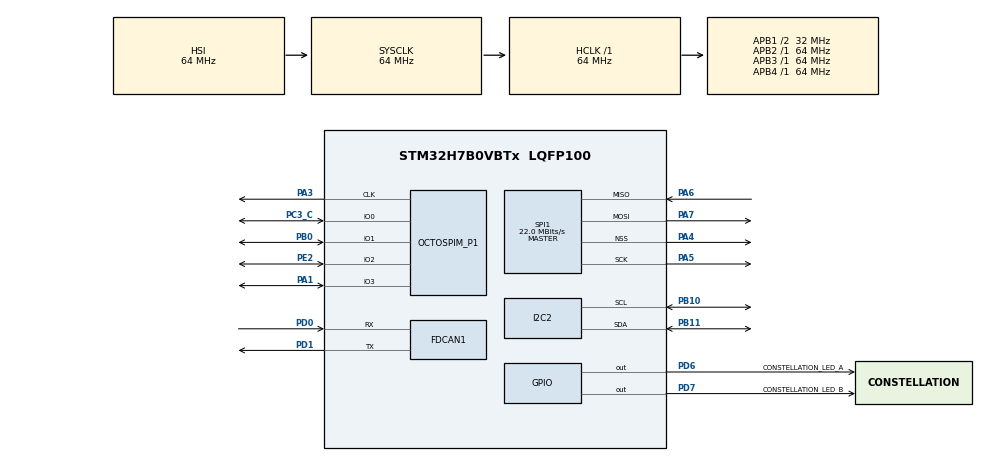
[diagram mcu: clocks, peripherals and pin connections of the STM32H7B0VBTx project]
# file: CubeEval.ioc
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CORTEX_M7.default_mode_Activation=1
FDCAN1.CalculateBaudRateNominal=916666
FDCAN1.CalculateTimeBitNominal=1090
FDCAN1.CalculateTimeQuantumNominal=363.6363636363636
FREERTOS.Tasks01=defaultTask,24,128,StartDefaultTask,Default,NULL,Dynamic,NULL,NULL
FREERTOS.configENABLE_FPU=1
I2C2.Timing=0x00707CBB
Mcu.Family=STM32H7
Mcu.Name=STM32H7B0VBTx
Mcu.Package=LQFP100
NVIC.PriorityGroup=NVIC_PRIORITYGROUP_4
NVIC.TIM6_DAC_IRQn=true\:15\:0\:false\:false\:true\:false\:false\:true\:true
NVIC.TimeBase=TIM6_DAC_IRQn
NVIC.TimeBaseIP=TIM6
PA1.Mode=OCTOSPI1_IOL_Port1L
PA1.Signal=OCTOSPIM_P1_IO3
PA3.Mode=O1_P1_CLK
PA3.Signal=OCTOSPIM_P1_CLK
PA4.Mode=NSS_Signal_Hard_Output
PA4.Signal=SPI1_NSS
PA5.Mode=Full_Duplex_Master
PA5.Signal=SPI1_SCK
PA6.Mode=Full_Duplex_Master
PA6.Signal=SPI1_MISO
PA7.Mode=Full_Duplex_Master
PA7.Signal=SPI1_MOSI
PB0.Mode=OCTOSPI1_IOL_Port1L
PB0.Signal=OCTOSPIM_P1_IO1
PB10.Mode=I2C
PB10.Signal=I2C2_SCL
PB11.Mode=I2C
PB11.Signal=I2C2_SDA
PC3_C.Mode=OCTOSPI1_IOL_Port1L
PC3_C.Signal=OCTOSPIM_P1_IO0
PD0.Mode=FDCAN_Activate
PD0.Signal=FDCAN1_RX
PD1.Mode=FDCAN_Activate
PD1.Signal=FDCAN1_TX
PD6.GPIO_Label=CONSTELLATION_LED_A
PD6.Signal=GPIO_Output
PD7.GPIO_Label=CONSTELLATION_LED_B
PD7.GPIO_PuPd=GPIO_NOPULL
PD7.Signal=GPIO_Output
PE2.Mode=OCTOSPI1_IOL_Port1L
PE2.Signal=OCTOSPIM_P1_IO2
PH0-OSC_IN.Mode=HSE-External-Oscillator
PH0-OSC_IN.Signal=RCC_OSC_IN
PH1-OSC_OUT.Mode=HSE-External-Oscillator
PH1-OSC_OUT.Signal=RCC_OSC_OUT
ProjectManager.HeapSize=0x200
ProjectManager.StackSize=0x400
ProjectManager.TargetToolchain=CMake
RCC.ADCFreq_Value=96750000
RCC.APB1Freq_Value=32000000
RCC.APB2Freq_Value=64000000
RCC.APB3Freq_Value=64000000
RCC.APB4Freq_Value=64000000
RCC.CDPPRE1=RCC_APB1_DIV2
RCC.CortexFreq_Value=64000000
RCC.DIVM1=4
RCC.DIVN1=11
RCC.DIVQ1=3
RCC.HCLKFreq_Value=64000000
RCC.HSE_VALUE=48000000
RCC.PLL2FRACN=0
RCC.PLL3FRACN=0
RCC.PLLFRACN=0
RCC.PLLSourceVirtual=RCC_PLLSOURCE_HSE
RCC.SYSCLKFreq_VALUE=64000000
RCC.USBFreq_Value=44000000
SPI1.CalculateBaudRate=22.0 MBits/s
SPI1.Direction=SPI_DIRECTION_2LINES
SPI1.Mode=SPI_MODE_MASTER
SPI1.VirtualNSS=VM_NSSHARD
SPI1.VirtualType=VM_MASTER
VP_FREERTOS_VS_CMSIS_V2.Mode=CMSIS_V2
VP_MEMORYMAP_VS_MEMORYMAP.Mode=CurAppReg
VP_OCTOSPI1_VS_quad.Mode=quad_mode
VP_SYS_VS_tim6.Mode=TIM6
VP_TIM7_VS_ClockSourceINT.Mode=Enable_Timer
board=custom

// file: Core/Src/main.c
/* USER CODE BEGIN Header */
/**
 ******************************************************************************
 * @file           : main.c
 * @brief          : Main program body
 ******************************************************************************
 * @attention
 *
 * Copyright (c) 2025 STMicroelectronics.
 * All rights reserved.
 *
 * This software is licensed under terms that can be found in the LICENSE file
 * in the root directory of this software component.
 * If no LICENSE file comes with this software, it is provided AS-IS.
 *
 ******************************************************************************
 */
/* USER CODE END Header */
#include "main.h"
#include "cmsis_os.h"

/* USER CODE BEGIN Includes */
#include <stdbool.h>
/* USER CODE END Includes */

FDCAN_HandleTypeDef hfdcan1;

I2C_HandleTypeDef hi2c2;

OSPI_HandleTypeDef hospi1;

SPI_HandleTypeDef hspi1;

TIM_HandleTypeDef htim7;

/* Definitions for defaultTask */
osThreadId_t defaultTaskHandle;
const osThreadAttr_t defaultTask_attributes = {
	.name = "defaultTask",
	.stack_size = 128 * 4,
	.priority = (osPriority_t)osPriorityNormal,
};
/* USER CODE BEGIN PV */

uint8_t ubKeyNumber = 0x0;
uint8_t ubKeyNumberValue = 0x0;
uint8_t ubLedBlinkTime = 0x0;
FDCAN_RxHeaderTypeDef RxHeader;
uint8_t RxData[8];
FDCAN_TxHeaderTypeDef TxHeader;
uint8_t TxData[8];

/* USER CODE END PV */

void SystemClock_Config(void);
static void MPU_Config(void);
static void MX_GPIO_Init(void);
static void MX_TIM7_Init(void);
static void MX_FDCAN1_Init(void);
static void MX_I2C2_Init(void);
static void MX_OCTOSPI1_Init(void);
static void MX_SPI1_Init(void);
void StartDefaultTask(void *argument);

int main(void) {

	/* MPU Configuration--------------------------------------------------------*/
	MPU_Config();

	/* MCU Configuration--------------------------------------------------------*/

	/* Reset of all peripherals, Initializes the Flash interface and the Systick.
	 */
	HAL_Init();

	/* Configure the system clock */
	SystemClock_Config();

	/* Initialize all configured peripherals */
	MX_GPIO_Init();
	MX_TIM7_Init();
	MX_FDCAN1_Init();
	MX_I2C2_Init();
	MX_OCTOSPI1_Init();
	MX_SPI1_Init();

	/* Init scheduler */
	osKernelInitialize();

	/* Create the thread(s) */
	/* creation of defaultTask */
	defaultTaskHandle = osThreadNew(StartDefaultTask, NULL, &defaultTask_attributes);

	/* Start scheduler */
	osKernelStart();

	/* We should never get here as control is now taken by the scheduler */

	/* Infinite loop */
	while (1) {

	}
}

void SystemClock_Config(void) {
	RCC_OscInitTypeDef RCC_OscInitStruct = {0};
	RCC_ClkInitTypeDef RCC_ClkInitStruct = {0};

	/*AXI clock gating */
	RCC->CKGAENR = 0xFFFFFFFF;

	/** Supply configuration update enable
	 */
	HAL_PWREx_ConfigSupply(PWR_LDO_SUPPLY);

	/** Configure the main internal regulator output voltage
	 */
	__HAL_PWR_VOLTAGESCALING_CONFIG(PWR_REGULATOR_VOLTAGE_SCALE3);

	while (!__HAL_PWR_GET_FLAG(PWR_FLAG_VOSRDY)) {
	}

	/** Initializes the RCC Oscillators according to the specified parameters
	 * in the RCC_OscInitTypeDef structure.
	 */
	RCC_OscInitStruct.OscillatorType = RCC_OSCILLATORTYPE_HSI | RCC_OSCILLATORTYPE_HSE;
	RCC_OscInitStruct.HSEState = RCC_HSE_ON;
	RCC_OscInitStruct.HSIState = RCC_HSI_DIV1;
	RCC_OscInitStruct.HSICalibrationValue = 64;
	RCC_OscInitStruct.PLL.PLLState = RCC_PLL_ON;
	RCC_OscInitStruct.PLL.PLLSource = RCC_PLLSOURCE_HSE;
	RCC_OscInitStruct.PLL.PLLM = 4;
	RCC_OscInitStruct.PLL.PLLN = 11;
	RCC_OscInitStruct.PLL.PLLP = 2;
	RCC_OscInitStruct.PLL.PLLQ = 3;
	RCC_OscInitStruct.PLL.PLLR = 2;
	RCC_OscInitStruct.PLL.PLLRGE = RCC_PLL1VCIRANGE_3;
	RCC_OscInitStruct.PLL.PLLVCOSEL = RCC_PLL1VCOWIDE;
	RCC_OscInitStruct.PLL.PLLFRACN = 0;
	if (HAL_RCC_OscConfig(&RCC_OscInitStruct) != HAL_OK) {
		Error_Handler();
	}

	/** Initializes the CPU, AHB and APB buses clocks
	 */
	RCC_ClkInitStruct.ClockType = RCC_CLOCKTYPE_HCLK | RCC_CLOCKTYPE_SYSCLK | RCC_CLOCKTYPE_PCLK1 |
								  RCC_CLOCKTYPE_PCLK2 | RCC_CLOCKTYPE_D3PCLK1 | RCC_CLOCKTYPE_D1PCLK1;
	RCC_ClkInitStruct.SYSCLKSource = RCC_SYSCLKSOURCE_HSI;
	RCC_ClkInitStruct.SYSCLKDivider = RCC_SYSCLK_DIV1;
	RCC_ClkInitStruct.AHBCLKDivider = RCC_HCLK_DIV1;
	RCC_ClkInitStruct.APB3CLKDivider = RCC_APB3_DIV1;
	RCC_ClkInitStruct.APB1CLKDivider = RCC_APB1_DIV2;
	RCC_ClkInitStruct.APB2CLKDivider = RCC_APB2_DIV1;
	RCC_ClkInitStruct.APB4CLKDivider = RCC_APB4_DIV1;

	if (HAL_RCC_ClockConfig(&RCC_ClkInitStruct, FLASH_LATENCY_2) != HAL_OK) {
		Error_Handler();
	}
}

static void MX_FDCAN1_Init(void) {

	hfdcan1.Instance = FDCAN1;
	hfdcan1.Init.FrameFormat = FDCAN_FRAME_CLASSIC;
	hfdcan1.Init.Mode = FDCAN_MODE_NORMAL;
	hfdcan1.Init.AutoRetransmission = DISABLE;
	hfdcan1.Init.TransmitPause = DISABLE;
	hfdcan1.Init.ProtocolException = DISABLE;
	hfdcan1.Init.NominalPrescaler = 16;
	hfdcan1.Init.NominalSyncJumpWidth = 1;
	hfdcan1.Init.NominalTimeSeg1 = 1;
	hfdcan1.Init.NominalTimeSeg2 = 1;
	hfdcan1.Init.DataPrescaler = 1;
	hfdcan1.Init.DataSyncJumpWidth = 1;
	hfdcan1.Init.DataTimeSeg1 = 1;
	hfdcan1.Init.DataTimeSeg2 = 1;
	hfdcan1.Init.MessageRAMOffset = 0;
	hfdcan1.Init.StdFiltersNbr = 0;
	hfdcan1.Init.ExtFiltersNbr = 0;
	hfdcan1.Init.RxFifo0ElmtsNbr = 0;
	hfdcan1.Init.RxFifo0ElmtSize = FDCAN_DATA_BYTES_8;
	hfdcan1.Init.RxFifo1ElmtsNbr = 0;
	hfdcan1.Init.RxFifo1ElmtSize = FDCAN_DATA_BYTES_8;
	hfdcan1.Init.RxBuffersNbr = 0;
	hfdcan1.Init.RxBufferSize = FDCAN_DATA_BYTES_8;
	hfdcan1.Init.TxEventsNbr = 0;
	hfdcan1.Init.TxBuffersNbr = 0;
	hfdcan1.Init.TxFifoQueueElmtsNbr = 0;
	hfdcan1.Init.TxFifoQueueMode = FDCAN_TX_FIFO_OPERATION;
	hfdcan1.Init.TxElmtSize = FDCAN_DATA_BYTES_8;
	if (HAL_FDCAN_Init(&hfdcan1) != HAL_OK) {
		Error_Handler();
	}
}

static void MX_I2C2_Init(void) {

	hi2c2.Instance = I2C2;
	hi2c2.Init.Timing = 0x00707CBB;
	hi2c2.Init.OwnAddress1 = 0;
	hi2c2.Init.AddressingMode = I2C_ADDRESSINGMODE_7BIT;
	hi2c2.Init.DualAddressMode = I2C_DUALADDRESS_DISABLE;
	hi2c2.Init.OwnAddress2 = 0;
	hi2c2.Init.OwnAddress2Masks = I2C_OA2_NOMASK;
	hi2c2.Init.GeneralCallMode = I2C_GENERALCALL_DISABLE;
	hi2c2.Init.NoStretchMode = I2C_NOSTRETCH_DISABLE;
	if (HAL_I2C_Init(&hi2c2) != HAL_OK) {
		Error_Handler();
	}

	/** Configure Analogue filter
	 */
	if (HAL_I2CEx_ConfigAnalogFilter(&hi2c2, I2C_ANALOGFILTER_ENABLE) != HAL_OK) {
		Error_Handler();
	}

	/** Configure Digital filter
	 */
	if (HAL_I2CEx_ConfigDigitalFilter(&hi2c2, 0) != HAL_OK) {
		Error_Handler();
	}
}

static void MX_OCTOSPI1_Init(void) {

	OSPIM_CfgTypeDef sOspiManagerCfg = {0};

	/* OCTOSPI1 parameter configuration*/
	hospi1.Instance = OCTOSPI1;
	hospi1.Init.FifoThreshold = 1;
	hospi1.Init.DualQuad = HAL_OSPI_DUALQUAD_DISABLE;
	hospi1.Init.MemoryType = HAL_OSPI_MEMTYPE_MICRON;
	hospi1.Init.DeviceSize = 32;
	hospi1.Init.ChipSelectHighTime = 1;
	hospi1.Init.FreeRunningClock = HAL_OSPI_FREERUNCLK_DISABLE;
	hospi1.Init.ClockMode = HAL_OSPI_CLOCK_MODE_0;
	hospi1.Init.WrapSize = HAL_OSPI_WRAP_NOT_SUPPORTED;
	hospi1.Init.ClockPrescaler = 1;
	hospi1.Init.SampleShifting = HAL_OSPI_SAMPLE_SHIFTING_NONE;
	hospi1.Init.DelayHoldQuarterCycle = HAL_OSPI_DHQC_DISABLE;
	hospi1.Init.ChipSelectBoundary = 0;
	hospi1.Init.DelayBlockBypass = HAL_OSPI_DELAY_BLOCK_BYPASSED;
	hospi1.Init.MaxTran = 0;
	hospi1.Init.Refresh = 0;
	if (HAL_OSPI_Init(&hospi1) != HAL_OK) {
		Error_Handler();
	}
	sOspiManagerCfg.ClkPort = 1;
	sOspiManagerCfg.IOLowPort = HAL_OSPIM_IOPORT_1_LOW;
	if (HAL_OSPIM_Config(&hospi1, &sOspiManagerCfg, HAL_OSPI_TIMEOUT_DEFAULT_VALUE) != HAL_OK) {
		Error_Handler();
	}
}

static void MX_SPI1_Init(void) {

	/* SPI1 parameter configuration*/
	hspi1.Instance = SPI1;
	hspi1.Init.Mode = SPI_MODE_MASTER;
	hspi1.Init.Direction = SPI_DIRECTION_2LINES;
	hspi1.Init.DataSize = SPI_DATASIZE_4BIT;
	hspi1.Init.CLKPolarity = SPI_POLARITY_LOW;
	hspi1.Init.CLKPhase = SPI_PHASE_1EDGE;
	hspi1.Init.NSS = SPI_NSS_HARD_OUTPUT;
	hspi1.Init.BaudRatePrescaler = SPI_BAUDRATEPRESCALER_2;
	hspi1.Init.FirstBit = SPI_FIRSTBIT_MSB;
	hspi1.Init.TIMode = SPI_TIMODE_DISABLE;
	hspi1.Init.CRCCalculation = SPI_CRCCALCULATION_DISABLE;
	hspi1.Init.CRCPolynomial = 0x0;
	hspi1.Init.NSSPMode = SPI_NSS_PULSE_ENABLE;
	hspi1.Init.NSSPolarity = SPI_NSS_POLARITY_LOW;
	hspi1.Init.FifoThreshold = SPI_FIFO_THRESHOLD_01DATA;
	hspi1.Init.TxCRCInitializationPattern = SPI_CRC_INITIALIZATION_ALL_ZERO_PATTERN;
	hspi1.Init.RxCRCInitializationPattern = SPI_CRC_INITIALIZATION_ALL_ZERO_PATTERN;
	hspi1.Init.MasterSSIdleness = SPI_MASTER_SS_IDLENESS_00CYCLE;
	hspi1.Init.MasterInterDataIdleness = SPI_MASTER_INTERDATA_IDLENESS_00CYCLE;
	hspi1.Init.MasterReceiverAutoSusp = SPI_MASTER_RX_AUTOSUSP_DISABLE;
	hspi1.Init.MasterKeepIOState = SPI_MASTER_KEEP_IO_STATE_DISABLE;
	hspi1.Init.IOSwap = SPI_IO_SWAP_DISABLE;
	if (HAL_SPI_Init(&hspi1) != HAL_OK) {
		Error_Handler();
	}
}

static void MX_TIM7_Init(void) {

	TIM_MasterConfigTypeDef sMasterConfig = {0};

	htim7.Instance = TIM7;
	htim7.Init.Prescaler = 0;
	htim7.Init.CounterMode = TIM_COUNTERMODE_UP;
	htim7.Init.Period = 65535;
	htim7.Init.AutoReloadPreload = TIM_AUTORELOAD_PRELOAD_DISABLE;
	if (HAL_TIM_Base_Init(&htim7) != HAL_OK) {
		Error_Handler();
	}
	sMasterConfig.MasterOutputTrigger = TIM_TRGO_RESET;
	sMasterConfig.MasterSlaveMode = TIM_MASTERSLAVEMODE_DISABLE;
	if (HAL_TIMEx_MasterConfigSynchronization(&htim7, &sMasterConfig) != HAL_OK) {
		Error_Handler();
	}
}

static void MX_GPIO_Init(void) {
	GPIO_InitTypeDef GPIO_InitStruct = {0};

	/* GPIO Ports Clock Enable */
	__HAL_RCC_GPIOE_CLK_ENABLE();
	__HAL_RCC_GPIOH_CLK_ENABLE();
	__HAL_RCC_GPIOC_CLK_ENABLE();
	__HAL_RCC_GPIOA_CLK_ENABLE();
	__HAL_RCC_GPIOB_CLK_ENABLE();
	__HAL_RCC_GPIOD_CLK_ENABLE();

	/*Configure GPIO pin Output Level */
	HAL_GPIO_WritePin(GPIOD, CONSTELLATION_LED_A_Pin | CONSTELLATION_LED_B_Pin, GPIO_PIN_RESET);

	/*Configure GPIO pins : CONSTELLATION_LED_A_Pin CONSTELLATION_LED_B_Pin */
	GPIO_InitStruct.Pin = CONSTELLATION_LED_A_Pin | CONSTELLATION_LED_B_Pin;
	GPIO_InitStruct.Mode = GPIO_MODE_OUTPUT_PP;
	GPIO_InitStruct.Pull = GPIO_NOPULL;
	GPIO_InitStruct.Speed = GPIO_SPEED_FREQ_LOW;
	HAL_GPIO_Init(GPIOD, &GPIO_InitStruct);

}

/* USER CODE BEGIN 4 */
/* USER CODE BEGIN 4 */
/**
 * @brief  Configures the FDCAN.
 *   None
 * @retval None
 */
static void FDCAN_Config(void) {
	FDCAN_FilterTypeDef sFilterConfig;

	/* Configure Rx filter */
	sFilterConfig.IdType = FDCAN_STANDARD_ID;
	sFilterConfig.FilterIndex = 0;
	sFilterConfig.FilterType = FDCAN_FILTER_RANGE;
	sFilterConfig.FilterConfig = FDCAN_FILTER_TO_RXFIFO0;
	sFilterConfig.FilterID1 = 0x321;
	sFilterConfig.FilterID2 = 0x7FF;
	if (HAL_FDCAN_ConfigFilter(&hfdcan1, &sFilterConfig) != HAL_OK) {
		Error_Handler();
	}

	/* Start the FDCAN module */
	if (HAL_FDCAN_Start(&hfdcan1) != HAL_OK) {
		Error_Handler();
	}

	if (HAL_FDCAN_ActivateNotification(&hfdcan1, FDCAN_IT_RX_FIFO0_NEW_MESSAGE, 0) != HAL_OK) {
		Error_Handler();
	}

	/* Prepare Tx Header */
	// TxHeader.Identifier = 0x321;
	TxHeader.IdType = FDCAN_STANDARD_ID;
	TxHeader.TxFrameType = FDCAN_DATA_FRAME;
	TxHeader.DataLength = FDCAN_DLC_BYTES_2;
	TxHeader.ErrorStateIndicator = FDCAN_ESI_PASSIVE;
	TxHeader.BitRateSwitch = FDCAN_BRS_OFF;
	TxHeader.FDFormat = FDCAN_CLASSIC_CAN;
	TxHeader.TxEventFifoControl = FDCAN_NO_TX_EVENTS;
	TxHeader.MessageMarker = 0;
}
/* USER CODE END 4 */

void StartDefaultTask(void *argument) {
	/* USER CODE BEGIN 5 */
	FDCAN_Config();
	HAL_FDCAN_Start(&hfdcan1);

	/* Infinite loop */
	for (;;) {

		/* Turning off - constellation leds */
		HAL_GPIO_WritePin(CONSTELLATION_LED_A_GPIO_Port, CONSTELLATION_LED_A_Pin, GPIO_PIN_RESET);
		HAL_GPIO_WritePin(CONSTELLATION_LED_B_GPIO_Port, CONSTELLATION_LED_B_Pin, GPIO_PIN_RESET);

		/* CanFD demo code */
		/* Ping pong */
		static uint8_t data[8] = {0x00, 0x01, 0x00, 0xFE, 0xD0, 0xAB, 0xE0, 0x00};

		/* Transmit CAN frame. */
		HAL_FDCAN_AddMessageToTxBuffer(&hfdcan1, &TxHeader, data, 8);

		/* Retrieve Rx messages from RX FIFO0 */
		const HAL_StatusTypeDef error = HAL_FDCAN_GetRxMessage(&hfdcan1, FDCAN_RX_FIFO0, &RxHeader, RxData);

		/* Flashing them if communication has succeeded */
		if (error == HAL_OK) {
			HAL_GPIO_WritePin(CONSTELLATION_LED_A_GPIO_Port, CONSTELLATION_LED_A_Pin, GPIO_PIN_SET);
			HAL_GPIO_WritePin(CONSTELLATION_LED_B_GPIO_Port, CONSTELLATION_LED_B_Pin, GPIO_PIN_SET);
		}
		osDelay(1000);
	}
	/* USER CODE END 5 */
}

/* MPU Configuration */

void MPU_Config(void) {
	MPU_Region_InitTypeDef MPU_InitStruct = {0};

	/* Disables the MPU */
	HAL_MPU_Disable();

	/** Initializes and configures the Region and the memory to be protected
	 */
	MPU_InitStruct.Enable = MPU_REGION_ENABLE;
	MPU_InitStruct.Number = MPU_REGION_NUMBER0;
	MPU_InitStruct.BaseAddress = 0x0;
	MPU_InitStruct.Size = MPU_REGION_SIZE_4GB;
	MPU_InitStruct.SubRegionDisable = 0x87;
	MPU_InitStruct.TypeExtField = MPU_TEX_LEVEL0;
	MPU_InitStruct.AccessPermission = MPU_REGION_NO_ACCESS;
	MPU_InitStruct.DisableExec = MPU_INSTRUCTION_ACCESS_DISABLE;
	MPU_InitStruct.IsShareable = MPU_ACCESS_SHAREABLE;
	MPU_InitStruct.IsCacheable = MPU_ACCESS_NOT_CACHEABLE;
	MPU_InitStruct.IsBufferable = MPU_ACCESS_NOT_BUFFERABLE;

	HAL_MPU_ConfigRegion(&MPU_InitStruct);
	/* Enables the MPU */
	HAL_MPU_Enable(MPU_PRIVILEGED_DEFAULT);
}

void HAL_TIM_PeriodElapsedCallback(TIM_HandleTypeDef *htim) {
	if (htim->Instance == TIM6) {
		HAL_IncTick();
	}
}

void Error_Handler(void) {
	__disable_irq();
	while (1) {
	}
}

#ifdef USE_FULL_ASSERT
/**
 * @brief  Reports the name of the source file and the source line number
 *         where the assert_param error has occurred.
 * @param  file: pointer to the source file name
 * @param  line: assert_param error line source number
 * @retval None
 */
void assert_failed(uint8_t *file, uint32_t line) {
	/* USER CODE BEGIN 6 */
	/* User can add his own implementation to report the file name and line
	   number, ex: printf("Wrong parameters value: file %s on line %d\r\n", file,
	   line) */
	/* USER CODE END 6 */
}
#endif /* USE_FULL_ASSERT */
